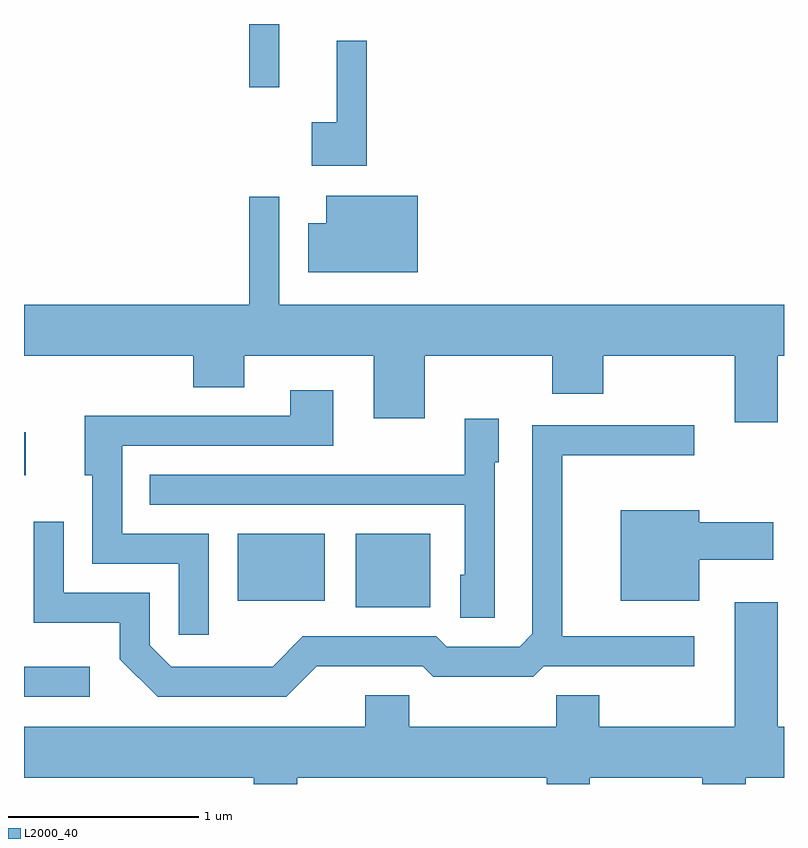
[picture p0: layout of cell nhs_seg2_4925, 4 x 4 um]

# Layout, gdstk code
import gdstk
lib = gdstk.Library(unit=1e-6, precision=1e-09)
def R(c, l, rs):  # rectangles x0, y0, x1, y1
    for r in rs: c.add(gdstk.rectangle(r[:2], r[2:], *l))
def P(c, l, *ps):  # polygons
    for p in ps: c.add(gdstk.Polygon(p, *l))
L2000_40 = (2000, 40)

nhs_seg2_4925 = lib.new_cell('nhs_seg2_4925')
R(nhs_seg2_4925, L2000_40, [(329.611,1084.261,329.958,1084.419), (331.356,1084.731,331.749,1085.119), (330.736,1084.766,331.194,1085.119), (329.611,1085.426,329.619,1085.654), (330.796,1087.468,330.954,1087.802)])
P(nhs_seg2_4925, L2000_40, [(331.414,1087.713),(331.256,1087.713),(331.256,1087.284),(331.126,1087.284),(331.126,1087.056),(331.414,1087.056)],
  [(331.684,1086.899),(331.201,1086.899),(331.201,1086.754),(331.106,1086.754),(331.106,1086.496),(331.684,1086.496)],
  [(333.579,1086.056),(333.611,1086.056),(333.611,1086.324),(330.954,1086.324),(330.954,1086.893),(330.796,1086.893),(330.796,1086.324),(329.611,1086.324),(329.611,1086.056),(330.501,1086.056),(330.501,1085.891),(330.769,1085.891),(330.769,1086.056),(331.451,1086.056),(331.451,1085.726),(331.719,1085.726),(331.719,1086.056),(332.391,1086.056),(332.391,1085.856),(332.659,1085.856),(332.659,1086.056),(333.351,1086.056),(333.351,1085.706),(333.579,1085.706)],
  [(330.584,1085.119),(330.129,1085.119),(330.129,1085.581),(331.239,1085.581),(331.239,1085.874),(331.011,1085.874),(331.011,1085.739),(329.931,1085.739),(329.931,1085.426),(329.971,1085.426),(329.971,1084.961),(330.426,1084.961),(330.426,1084.588),(330.584,1084.588)],
  [(332.089,1085.496),(332.109,1085.496),(332.109,1085.724),(331.931,1085.724),(331.931,1085.429),(330.273,1085.429),(330.273,1085.271),(331.931,1085.271),(331.931,1084.904),(331.906,1084.904),(331.906,1084.676),(332.089,1084.676)],
  [(331.152,1084.421),(331.709,1084.421),(331.764,1084.366),(332.292,1084.366),(332.347,1084.421),(333.138,1084.421),(333.138,1084.579),(332.444,1084.579),(332.444,1085.531),(333.138,1085.531),(333.138,1085.689),(332.286,1085.689),(332.286,1084.592),(332.219,1084.524),(331.837,1084.524),(331.782,1084.579),(331.079,1084.579),(330.919,1084.419),(330.387,1084.419),(330.274,1084.532),(330.274,1084.809),(329.819,1084.809),(329.819,1085.183),(329.661,1085.183),(329.661,1084.651),(330.116,1084.651),(330.116,1084.459),(330.314,1084.261),(330.992,1084.261)],
  [(333.164,1084.981),(333.554,1084.981),(333.554,1085.179),(333.164,1085.179),(333.164,1085.244),(332.751,1085.244),(332.751,1084.766),(333.164,1084.766)],
  [(333.409,1083.836),(333.611,1083.836),(333.611,1084.104),(333.579,1084.104),(333.579,1084.759),(333.351,1084.759),(333.351,1084.104),(332.639,1084.104),(332.639,1084.269),(332.411,1084.269),(332.411,1084.104),(331.639,1084.104),(331.639,1084.269),(331.406,1084.269),(331.406,1084.104),(329.611,1084.104),(329.611,1083.836),(330.821,1083.836),(330.821,1083.802),(331.049,1083.802),(331.049,1083.836),(332.361,1083.836),(332.361,1083.802),(332.589,1083.802),(332.589,1083.836),(333.181,1083.836),(333.181,1083.802),(333.409,1083.802)])

lib.write_gds('nhs_seg2_4925.gds')
